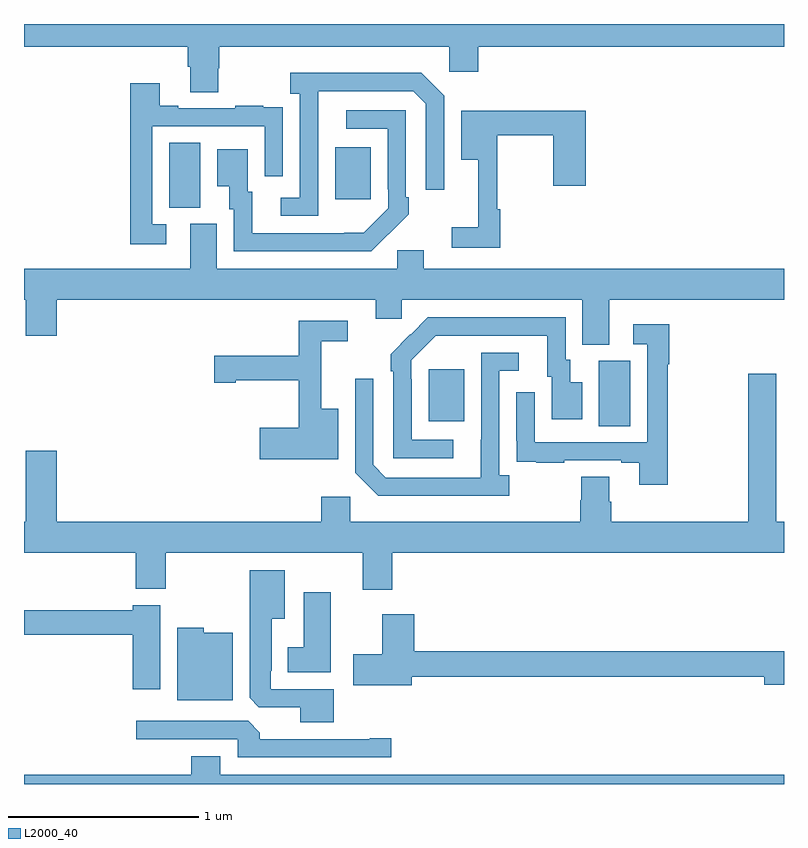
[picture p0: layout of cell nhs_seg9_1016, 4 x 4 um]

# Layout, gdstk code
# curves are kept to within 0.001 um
import gdstk
lib = gdstk.Library(unit=1e-6, precision=1e-09)
def R(c, l, rs):  # rectangles x0, y0, x1, y1
    for r in rs: c.add(gdstk.rectangle(r[:2], r[2:], *l))
def P(c, l, *ps):  # polygons
    for p in ps: c.add(gdstk.Polygon(p, *l))
L2000_40 = (2000, 40)

nhs_seg9_1016 = lib.new_cell('nhs_seg9_1016')
R(nhs_seg9_1016, L2000_40, [(168.026,1234.384,168.19,1234.728), (167.129,1234.409,167.317,1234.684), (165.764,1235.533,165.928,1235.876), (166.637,1235.577,166.825,1235.851)])
P(nhs_seg9_1016, L2000_40, [(166.023,1236.267),(166.028,1236.267),(166.028,1236.38),(167.238,1236.38),(167.238,1236.249),(167.39,1236.249),(167.39,1236.38),(169,1236.38),(169,1236.5),(165,1236.5),(165,1236.38),(165.863,1236.38),(165.863,1236.274),(165.875,1236.274),(165.875,1236.142),(166.023,1236.142)],
  [(166.548,1235.947),(166.549,1236.147),(167.049,1236.147),(167.115,1236.081),(167.115,1235.628),(167.211,1235.628),(167.211,1236.123),(167.09,1236.244),(166.401,1236.244),(166.401,1236.134),(166.452,1236.134),(166.452,1235.586),(166.35,1235.586),(166.35,1235.49),(166.548,1235.49)],
  [(165.748,1235.445),(165.675,1235.445),(165.675,1235.961),(166.266,1235.961),(166.266,1235.7),(166.362,1235.7),(166.362,1235.954),(166.361,1235.954),(166.361,1236.063),(166.259,1236.063),(166.259,1236.07),(166.111,1236.07),(166.111,1236.057),(165.811,1236.057),(165.811,1236.07),(165.715,1236.07),(165.715,1236.187),(165.559,1236.187),(165.559,1235.34),(165.748,1235.34)],
  [(166.919,1235.395),(166.92,1235.394),(167.025,1235.499),(167.025,1235.587),(167.01,1235.587),(167.01,1236.045),(166.695,1236.045),(166.695,1235.949),(166.914,1235.949),(166.914,1235.629),(166.917,1235.629),(166.917,1235.529),(166.789,1235.401),(166.201,1235.4),(166.201,1235.616),(166.177,1235.616),(166.177,1235.842),(166.016,1235.842),(166.016,1235.645),(166.079,1235.645),(166.079,1235.526),(166.104,1235.526),(166.104,1235.304),(166.828,1235.304)],
  [(167.507,1235.525),(167.492,1235.525),(167.492,1235.914),(167.786,1235.914),(167.786,1235.649),(167.957,1235.649),(167.957,1236.043),(167.3,1236.043),(167.3,1235.786),(167.39,1235.786),(167.39,1235.431),(167.25,1235.431),(167.25,1235.322),(167.507,1235.322)],
  [(168.079,1235.048),(169,1235.048),(169,1235.212),(167.104,1235.212),(167.104,1235.31),(166.965,1235.31),(166.965,1235.212),(166.015,1235.212),(166.015,1235.448),(165.875,1235.448),(165.875,1235.212),(165,1235.212),(165,1235.048),(165.008,1235.048),(165.008,1234.86),(165.172,1234.86),(165.172,1235.048),(166.85,1235.048),(166.85,1234.95),(166.989,1234.95),(166.989,1235.048),(167.939,1235.048),(167.939,1234.813),(168.079,1234.813)],
  [(167.26,1234.311),(167.04,1234.311),(167.04,1234.631),(167.037,1234.631),(167.037,1234.731),(167.166,1234.86),(167.753,1234.86),(167.753,1234.644),(167.777,1234.644),(167.777,1234.419),(167.938,1234.419),(167.938,1234.615),(167.875,1234.615),(167.875,1234.734),(167.85,1234.734),(167.85,1234.956),(167.126,1234.956),(166.929,1234.761),(166.929,1234.673),(166.944,1234.673),(166.944,1234.215),(167.26,1234.215)],
  [(166.654,1234.474),(166.565,1234.474),(166.565,1234.83),(166.705,1234.83),(166.705,1234.938),(166.447,1234.938),(166.447,1234.755),(166.002,1234.755),(166.002,1234.613),(166.114,1234.613),(166.114,1234.625),(166.447,1234.625),(166.447,1234.375),(166.242,1234.375),(166.242,1234.21),(166.654,1234.21)],
  [(168.388,1234.708),(168.395,1234.708),(168.395,1234.921),(168.207,1234.921),(168.207,1234.815),(168.279,1234.815),(168.279,1234.299),(167.688,1234.299),(167.688,1234.561),(167.592,1234.561),(167.592,1234.306),(167.593,1234.306),(167.593,1234.197),(167.695,1234.197),(167.695,1234.191),(167.843,1234.191),(167.843,1234.203),(168.143,1234.203),(168.143,1234.191),(168.239,1234.191),(168.239,1234.074),(168.388,1234.074)],
  [(167.554,1234.126),(167.502,1234.126),(167.502,1234.674),(167.605,1234.674),(167.605,1234.77),(167.406,1234.77),(167.405,1234.113),(166.905,1234.113),(166.839,1234.179),(166.839,1234.633),(166.743,1234.633),(166.743,1234.137),(166.864,1234.016),(167.554,1234.016)],
  [(166.937,1233.716),(169,1233.716),(169,1233.88),(168.958,1233.88),(168.958,1234.659),(168.811,1234.659),(168.811,1233.88),(168.092,1233.88),(168.092,1233.986),(168.079,1233.986),(168.079,1234.118),(167.932,1234.118),(167.932,1233.993),(167.927,1233.993),(167.927,1233.88),(166.716,1233.88),(166.716,1234.012),(166.565,1234.012),(166.565,1233.88),(165.172,1233.88),(165.172,1234.255),(165.008,1234.255),(165.008,1233.88),(165,1233.88),(165,1233.716),(165.587,1233.716),(165.587,1233.527),(165.747,1233.527),(165.747,1233.716),(166.784,1233.716),(166.784,1233.522),(166.937,1233.522)],
  [(166.63,1233),(166.299,1233),(166.299,1233.097),(166.303,1233.097),(166.303,1233.371),(166.372,1233.371),(166.372,1233.625),(166.187,1233.625),(166.187,1232.953),(166.236,1232.904),(166.454,1232.904),(166.454,1232.825),(166.63,1232.825)],
  [(166.615,1233.508),(166.472,1233.508),(166.472,1233.22),(166.388,1233.22),(166.388,1233.089),(166.615,1233.089)],
  [(165.718,1233.442),(165.572,1233.442),(165.572,1233.415),(165,1233.415),(165,1233.286),(165.572,1233.286),(165.572,1233),(165.718,1233)],
  [(167.041,1233.064),(168.896,1233.064),(168.896,1233.022),(169,1233.022),(169,1233.2),(167.054,1233.2),(167.054,1233.394),(166.886,1233.394),(166.886,1233.183),(166.734,1233.183),(166.734,1233.02),(167.041,1233.02)],
  [(166.099,1233.295),(165.945,1233.295),(165.945,1233.322),(165.806,1233.322),(165.806,1232.942),(166.099,1232.942)],
  [(166.933,1232.741),(166.82,1232.741),(166.82,1232.736),(166.241,1232.736),(166.241,1232.77),(166.179,1232.832),(165.591,1232.832),(165.591,1232.736),(166.125,1232.736),(166.125,1232.64),(166.933,1232.64)],
  [(169,1232.548),(166.033,1232.548),(166.033,1232.647),(165.881,1232.647),(165.881,1232.548),(165,1232.548),(165,1232.5),(169,1232.5)])

lib.write_gds('nhs_seg9_1016.gds')
